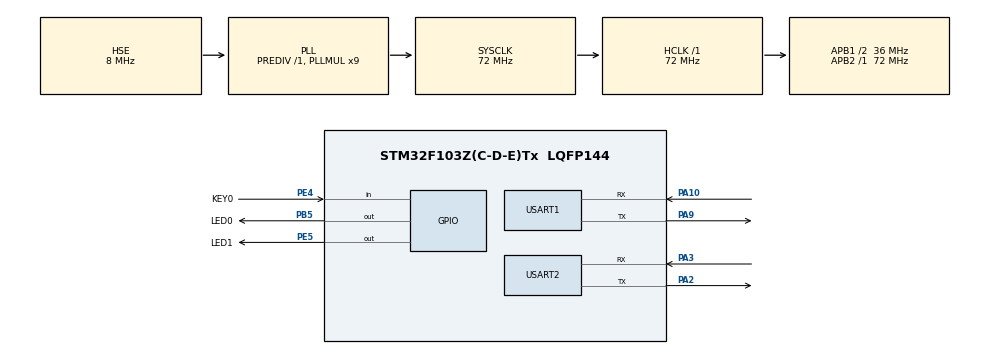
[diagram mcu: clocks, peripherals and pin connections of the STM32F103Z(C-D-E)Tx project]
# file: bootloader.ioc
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Mcu.Family=STM32F1
Mcu.Name=STM32F103Z(C-D-E)Tx
Mcu.Package=LQFP144
NVIC.PriorityGroup=NVIC_PRIORITYGROUP_4
OSC_IN.Mode=HSE-External-Oscillator
OSC_IN.Signal=RCC_OSC_IN
OSC_OUT.Mode=HSE-External-Oscillator
OSC_OUT.Signal=RCC_OSC_OUT
PA10.Mode=Asynchronous
PA10.Signal=USART1_RX
PA13.Mode=Serial_Wire
PA13.Signal=SYS_JTMS-SWDIO
PA14.Mode=Serial_Wire
PA14.Signal=SYS_JTCK-SWCLK
PA2.Mode=Asynchronous
PA2.Signal=USART2_TX
PA3.Mode=Asynchronous
PA3.Signal=USART2_RX
PA9.Mode=Asynchronous
PA9.Signal=USART1_TX
PB5.GPIO_Label=LED0
PB5.GPIO_ModeDefaultOutputPP=GPIO_MODE_OUTPUT_PP
PB5.GPIO_PuPd=GPIO_PULLUP
PB5.PinState=GPIO_PIN_SET
PB5.Signal=GPIO_Output
PE4.GPIO_Label=KEY0
PE4.GPIO_PuPd=GPIO_PULLUP
PE4.Signal=GPIO_Input
PE5.GPIO_Label=LED1
PE5.GPIO_PuPd=GPIO_PULLUP
PE5.PinState=GPIO_PIN_SET
PE5.Signal=GPIO_Output
ProjectManager.HeapSize=0x200
ProjectManager.StackSize=0x400
ProjectManager.TargetToolchain=MDK-ARM V5.32
RCC.AHBFreq_Value=72000000
RCC.APB1CLKDivider=RCC_HCLK_DIV2
RCC.APB1Freq_Value=36000000
RCC.APB1TimFreq_Value=72000000
RCC.APB2Freq_Value=72000000
RCC.APB2TimFreq_Value=72000000
RCC.HCLKFreq_Value=72000000
RCC.PLLMUL=RCC_PLL_MUL9
RCC.PLLSourceVirtual=RCC_PLLSOURCE_HSE
RCC.SYSCLKFreq_VALUE=72000000
RCC.SYSCLKSource=RCC_SYSCLKSOURCE_PLLCLK
RCC.USBFreq_Value=72000000
USART1.VirtualMode=VM_ASYNC
USART2.VirtualMode=VM_ASYNC
board=custom

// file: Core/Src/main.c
/* USER CODE BEGIN Header */
/**
  ******************************************************************************
  * @file           : main.c
  * @brief          : Main program body
  ******************************************************************************
  * @attention
  *
  * Copyright (c) 2026 STMicroelectronics.
  * All rights reserved.
  *
  * This software is licensed under terms that can be found in the LICENSE file
  * in the root directory of this software component.
  * If no LICENSE file comes with this software, it is provided AS-IS.
  *
  ******************************************************************************
  */
/* USER CODE END Header */
#include "main.h"
#include "usart.h"
#include "gpio.h"

/* USER CODE BEGIN Includes */
#include "flash_if.h"
#include "jump_to_app.h"
#include <stdio.h>
#include "flash_param.h"
#include "iap.h"
#include "boot_ota.h"   /*  WiFi_IAP_Init / WiFi_IAP_Process */

/* USER CODE END Includes */

/* USER CODE BEGIN PM */

/* IWDG 喂狗宏：IWDG 未启用时写此寄存器无副作用，启用后自动喂狗 */
#define BOOT_KICK_DOG()  do { IWDG->KR = 0xAAAAU; } while(0)

/* USER CODE END PM */

void SystemClock_Config(void);

/* USER CODE BEGIN 0 */
flash_param_t g_param_buf;
/* USER CODE END 0 */

int main(void)
{

  /* MCU Configuration--------------------------------------------------------*/

  /* Reset of all peripherals, Initializes the Flash interface and the Systick. */
  HAL_Init();

  /* Configure the system clock */
  SystemClock_Config();

  /* Initialize all configured peripherals */
  MX_GPIO_Init();
	MX_USART2_UART_Init();
  MX_USART1_UART_Init();
  /* USER CODE BEGIN 2 */

	CRC32_InitTable();

  printf("\r\n\r\n========== Bootloader v1.0 ==========\r\n");
  printf("Flash: Bootloader @ 0x08000000 (32KB)\r\n");
  printf("       APP        @ 0x08008000 (464KB)\r\n");
  printf("       OTA_FLAG   @ 0x0807F000\r\n");

  HAL_GPIO_WritePin(LED0_GPIO_Port, LED0_Pin, GPIO_PIN_RESET);
  HAL_GPIO_WritePin(LED1_GPIO_Port, LED1_Pin, GPIO_PIN_SET);

{
    int load_ok = FlashParam_Load(&g_param_buf);

    if (load_ok == 0 && g_param_buf.ota_request_magic == MAGIC_OTA_REQUEST)
    {
        /*  Bootloader 侧柜门校验（双重校验第二道） */
        if (g_param_buf.door_state != 0U) {
            printf("[BOOT] OTA REJECTED: door not closed (door_state=%u), abort OTA\r\n",
                   g_param_buf.door_state);
            FlashParam_ClearOtaRequest();   /* 清掉请求，防止反复进 OTA 分支 */
        }
        else
        {
            printf("\r\n[BOOT] =================================================\r\n");
            printf("[BOOT] OTA_REQUEST FLAG (magic=0x%08X) detected!\r\n",
                   g_param_buf.ota_request_magic);
            printf("[BOOT]   Expected new FW: size=%u bytes, CRC=0x%08X\r\n",
                   g_param_buf.ota_new_fw_size, g_param_buf.ota_new_fw_crc32);
            printf("[BOOT]   Target version: %u.%u.%u.%u\r\n",
                   g_param_buf.ota_new_fw_ver_major,
                   g_param_buf.ota_new_fw_ver_minor,
                   g_param_buf.ota_new_fw_ver_patch,
                   g_param_buf.ota_new_fw_build_num);
            printf("[BOOT] =================================================\r\n");

            FlashParam_ClearOtaRequest();
            printf("[BOOT] OTA_request flag pre-cleared (safe for fail-retries)\r\n");

            printf("[BOOT] Enter WiFi-OTA pull (D12).\r\n");
            printf("[BOOT] To force Serial IAP rescue: KEY0 + Reset\r\n");
            HAL_GPIO_WritePin(LED0_GPIO_Port, LED0_Pin, GPIO_PIN_SET);

            if (WiFi_IAP_Init() == 0) {
                int rc = WiFi_IAP_Process(g_param_buf.ota_new_fw_crc32,
                                          g_param_buf.ota_new_fw_size,
                                          g_param_buf.ota_new_fw_ver_major,
                                          g_param_buf.ota_new_fw_ver_minor,
                                          g_param_buf.ota_new_fw_ver_patch,
                                          g_param_buf.ota_new_fw_build_num);
                if (rc != 0) {
                    printf("[BOOT] WiFi_IAP_Process FAIL (rc=%d)\r\n", rc);
                }
            } else {
                printf("[BOOT] WiFi_IAP_Init FAIL\r\n");
            }
        }   /* end of else (door_state == 0) */
    }

    else if (FLASH_ReadWord(OTA_FLAG_ADDR) == MAGIC_OLD_OTA_FLAG) {
        printf("[BOOT] Legacy OTA_FLAG (0xA5A5A5A5) detected, clearing...\r\n");
        FLASH_ErasePage(OTA_FLAG_ADDR);

    }
}

  HAL_Delay(100);

  HAL_Delay(100);
  if (HAL_GPIO_ReadPin(KEY0_GPIO_Port, KEY0_Pin) == GPIO_PIN_RESET)
  {
      printf("\r\n[BOOT] =========== KEY0+Reset FORCE IAP MODE ===========\r\n");
      printf("[BOOT] KEY0 held on power-on. Entering Serial Ymodem IAP.\r\n");
      printf("[BOOT] Send app.bin via Ymodem (115200, 8N1) on USART1 (USB-UART).\r\n");
      printf("[BOOT] MCU will send 'C' (0x43) handshake every 5s, up to 5 retries.\r\n");
      printf("[BOOT] If Ymodem FAILs: hold KEY0 + Reset again to retry.\r\n");

      HAL_GPIO_WritePin(LED0_GPIO_Port, LED0_Pin, GPIO_PIN_RESET);
      HAL_GPIO_WritePin(LED1_GPIO_Port, LED1_Pin, GPIO_PIN_RESET);

      (void)IAP_ProcessSerial();

      printf("\r\n[BOOT] !!!!! IAP FAILED !!!!!\r\n");
      printf("[BOOT] APP area may be corrupted (if erase already started).\r\n");
      printf("[BOOT] Recovery: Hold KEY0 + Press Reset -> Try IAP again.\r\n");
      printf("[BOOT] LED fast-blink indicates IAP failure state.\r\n");

      HAL_GPIO_WritePin(LED0_GPIO_Port, LED0_Pin, GPIO_PIN_SET);
      HAL_GPIO_WritePin(LED1_GPIO_Port, LED1_Pin, GPIO_PIN_SET);
      while (1) {
          HAL_GPIO_TogglePin(LED0_GPIO_Port, LED0_Pin);
          HAL_GPIO_TogglePin(LED1_GPIO_Port, LED1_Pin);
          HAL_Delay(100);
      }
  }

	/* === D13�����������жϼ�� === */
  if (FlashParam_Load(&g_param_buf) == 0 && g_param_buf.last_ota_result == 4U)
  {
      printf("[BOOT] OTA interrupted (last_ota_result=4). APP may be incomplete.\r\n");
      printf("[BOOT] APP NOT valid!\r\n");
      printf("[BOOT] Auto-entering Serial IAP rescue (Ymodem 115200 8N1)...\r\n");
      printf("[BOOT] Send app.bin now.\r\n");
      (void)IAP_ProcessSerial();
      printf("[BOOT] IAP returned. Hold KEY0+Reset to retry.\r\n");
      while (1) {
          BOOT_KICK_DOG();
          HAL_GPIO_TogglePin(LED0_GPIO_Port, LED0_Pin);
          HAL_Delay(500);
      }
  }
  else if (IsAppValid())
  {
      printf("[BOOT] APP SP valid, checking CRC...\r\n");

      /* === CRC 门禁：防止半写固件跳转变砖 === */
      int crc_ok = 0;
      if (FlashParam_Load(&g_param_buf) == 0 &&
          g_param_buf.fw_size_bytes != 0xFFFFFFFFUL &&
          g_param_buf.fw_size_bytes <= APP_FLASH_SIZE)
      {
          uint32_t crc_now = CRC32_Calc((const uint8_t *)APP_FLASH_START,
                                         g_param_buf.fw_size_bytes);
          if (crc_now == g_param_buf.fw_crc32) {
              crc_ok = 1;
              printf("[BOOT] CRC OK (0x%08lX), fw_size=%lu\r\n",
                     (unsigned long)crc_now, (unsigned long)g_param_buf.fw_size_bytes);
          } else {
              printf("[BOOT] CRC FAIL! flash=0x%08lX param=0x%08lX\r\n",
                     (unsigned long)crc_now, (unsigned long)g_param_buf.fw_crc32);
          }
      }
      else
      {
          /* 参数区未初始化（首次烧录），放行 */
          crc_ok = 1;
          printf("[BOOT] Param uninitialized, skip CRC (first boot)\r\n");
      }

      if (crc_ok)
      {
          printf("[BOOT] Jumping to 0x%08X...\r\n", APP_FLASH_START);
          HAL_Delay(200);
          HAL_GPIO_WritePin(LED0_GPIO_Port, LED0_Pin, GPIO_PIN_SET);
          JumpToApp();
      }
      else
      {
          printf("[BOOT] CRC FAIL! Entering IAP rescue.\r\n");
          printf("[BOOT] Send app.bin now.\r\n");
          (void)IAP_ProcessSerial();
          while (1) {
              BOOT_KICK_DOG();
              HAL_GPIO_TogglePin(LED0_GPIO_Port, LED0_Pin);
              HAL_Delay(500);
          }
      }
  }
	else  /* APP ��Ч */
	{
			printf("[BOOT] APP NOT valid!\r\n");

			/* === �������Զ������� IAP ��ש === */
			printf("[BOOT] Auto-entering Serial IAP rescue (Ymodem 115200 8N1)...\r\n");
			printf("[BOOT] Send app.bin now.\r\n");
			(void)IAP_ProcessSerial();

			/* IAP �ɹ����ڲ��� APP���ߵ�����˵�� IAP ʧ�ܻ��û��˳� */
			printf("[BOOT] IAP returned. Hold KEY0+Reset to retry.\r\n");
			while (1) {
					BOOT_KICK_DOG();
					HAL_GPIO_TogglePin(LED0_GPIO_Port, LED0_Pin);
					HAL_Delay(500);
			}
	}

  /* USER CODE END 2 */

  /* Infinite loop */
  while (1)
  {

  }
}

void SystemClock_Config(void)
{
  RCC_OscInitTypeDef RCC_OscInitStruct = {0};
  RCC_ClkInitTypeDef RCC_ClkInitStruct = {0};

  /** Initializes the RCC Oscillators according to the specified parameters
  * in the RCC_OscInitTypeDef structure.
  */
  RCC_OscInitStruct.OscillatorType = RCC_OSCILLATORTYPE_HSE;
  RCC_OscInitStruct.HSEState = RCC_HSE_ON;
  RCC_OscInitStruct.HSEPredivValue = RCC_HSE_PREDIV_DIV1;
  RCC_OscInitStruct.HSIState = RCC_HSI_ON;
  RCC_OscInitStruct.PLL.PLLState = RCC_PLL_ON;
  RCC_OscInitStruct.PLL.PLLSource = RCC_PLLSOURCE_HSE;
  RCC_OscInitStruct.PLL.PLLMUL = RCC_PLL_MUL9;
  if (HAL_RCC_OscConfig(&RCC_OscInitStruct) != HAL_OK)
  {
    Error_Handler();
  }

  /** Initializes the CPU, AHB and APB buses clocks
  */
  RCC_ClkInitStruct.ClockType = RCC_CLOCKTYPE_HCLK|RCC_CLOCKTYPE_SYSCLK
                              |RCC_CLOCKTYPE_PCLK1|RCC_CLOCKTYPE_PCLK2;
  RCC_ClkInitStruct.SYSCLKSource = RCC_SYSCLKSOURCE_PLLCLK;
  RCC_ClkInitStruct.AHBCLKDivider = RCC_SYSCLK_DIV1;
  RCC_ClkInitStruct.APB1CLKDivider = RCC_HCLK_DIV2;
  RCC_ClkInitStruct.APB2CLKDivider = RCC_HCLK_DIV1;

  if (HAL_RCC_ClockConfig(&RCC_ClkInitStruct, FLASH_LATENCY_2) != HAL_OK)
  {
    Error_Handler();
  }
}

/* USER CODE BEGIN 4 */

struct __FILE {
    int handle;
};

FILE __stdout;
FILE __stdin;

int fputc(int ch, FILE *f)
{
    HAL_UART_Transmit(&huart1, (uint8_t *)&ch, 1, 10);
    return ch;
}

/* USER CODE END 4 */

void Error_Handler(void)
{
  __disable_irq();
  while (1)
  {
  }
}
